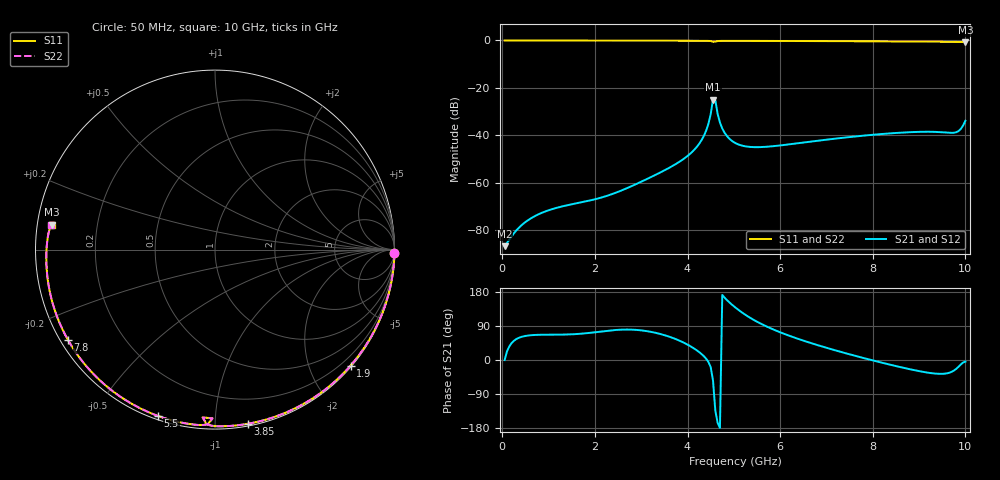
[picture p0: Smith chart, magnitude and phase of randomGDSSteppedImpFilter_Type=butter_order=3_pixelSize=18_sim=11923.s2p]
! freq	dB(S11)	phase(S11)	dB(S12)	phase(S12)
!  dB(S21)	phase(S21)	dB(S22)	phase(S22)
!S-par simulation data
#  GHz  S  DB  R 50
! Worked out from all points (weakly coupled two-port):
!   200 points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, 50 MHz to 10 GHz, reference 50 ohm
!   highest |S21| = -24.94 dB at 4.55 GHz (marker M1); lowest = -86.8 dB at 50 MHz (marker M2)
!   lowest |S11| = -0.7 dB at 10 GHz (marker M3), VSWR 24.41, Z = 2.06 + j3.76 ohm
!   |S11| at or under -10 dB: nowhere
!   |S22| runs from -0.7 to 0.0 dB; largest |S21 - S12| = 0
!   S11 on the Smith chart (normalised r, x): 50 MHz: open; 1.9 GHz: 0.02, -2.71; 3.85 GHz: 0.02, -1.21; 5.5 GHz: 0.02, -0.71; 7.8 GHz: 0.02, -0.28; 10 GHz: 0.04, +0.08
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0.05  -0.00 -1.1  -86.81 -0.3  -86.81 -0.3  -0.00 -1.1
0.3  -0.00 -6.5  -80.25 54.9  -80.25 54.9  -0.00 -6.5
0.85  -0.02 -18.4  -72.77 66.7  -72.77 66.7  -0.02 -18.4
1.75  -0.05 -37.4  -68.14 69.9  -68.14 69.9  -0.05 -37.4
1.9  -0.05 -40.5  -67.51 71.7  -67.51 71.7  -0.05 -40.5
3.4  -0.09 -70.6  -55.84 69.0  -55.84 69.0  -0.09 -70.6
3.85  -0.11 -79.3  -50.87 49.7  -50.87 49.7  -0.11 -79.2
4.15  -0.12 -85.0  -46.03 29.7  -46.03 29.7  -0.12 -85.0
4.35  -0.14 -89.0  -40.37 10.3  -40.37 10.3  -0.14 -88.9
4.45  -0.17 -91.3  -35.24 -4.9  -35.24 -4.9  -0.17 -91.2
4.55  -0.56 -94.3  -24.94 -54.0  -24.94 -54.0  -0.55 -94.2
4.6  -0.54 -90.8  -25.25 -133.5  -25.25 -133.5  -0.53 -90.8
4.65  -0.24 -92.3  -30.96 -165.9  -30.96 -165.9  -0.24 -92.3
4.75  -0.17 -94.9  -37.13 171.7  -37.13 171.7  -0.17 -94.9
5.05  -0.16 -100.8  -43.46 136.8  -43.46 136.8  -0.16 -100.7
5.5  -0.18 -108.9  -45.03 101.1  -45.03 101.1  -0.18 -108.8
6.7  -0.25 -129.7  -42.59 43.3  -42.59 43.3  -0.25 -129.6
7.8  -0.34 -148.5  -40.17 5.2  -40.17 5.2  -0.34 -148.4
8.35  -0.40 -158.0  -39.25 -11.7  -39.25 -11.7  -0.40 -157.9
9.75  -0.58 176.5  -38.95 -28.1  -38.95 -28.1  -0.58 176.7
9.9  -0.63 173.5  -37.37 -11.8  -37.37 -11.8  -0.63 173.6
10  -0.71 171.4  -33.92 -4.3  -33.92 -4.3  -0.71 171.5
